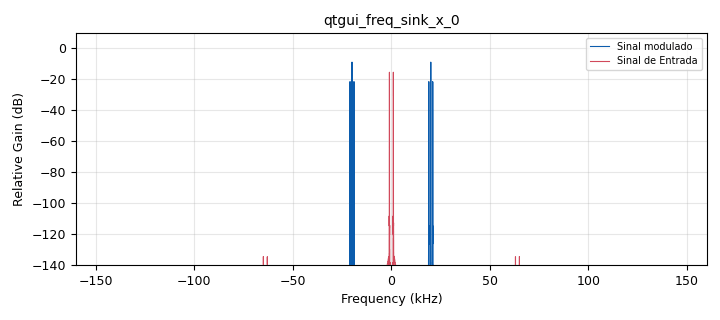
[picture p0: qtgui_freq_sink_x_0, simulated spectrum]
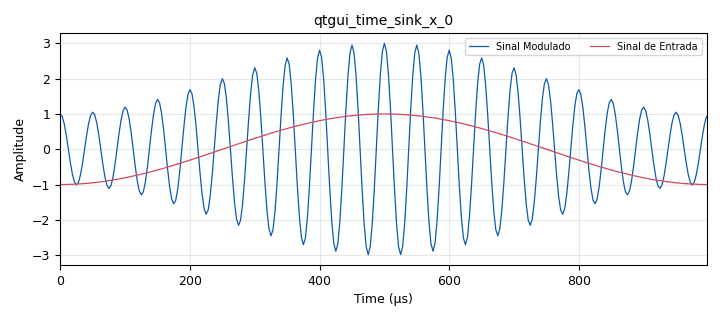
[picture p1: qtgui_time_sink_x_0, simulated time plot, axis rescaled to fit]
options:
  parameters:
    author: luso
    generate_options: qt_gui
    id: ex2
    output_language: python
    title: Not titled yet
  states: {}

blocks:
- name: down
  id: variable_qtgui_entry
  parameters:
    type: int
    value: round(samp_rate)
  states: {state: disabled}
- name: f_c
  id: variable
  parameters:
    value: 20*freq
  states: {}
- name: freq
  id: variable_qtgui_entry
  parameters:
    type: int
    value: '1000'
  states: {}
- name: samp_rate
  id: variable
  parameters:
    value: '320000'
  states: {}
- name: time
  id: variable_qtgui_entry
  parameters:
    type: int
    value: '1'
  states: {state: disabled}
- name: up
  id: variable_qtgui_entry
  parameters:
    type: int
    value: round(samp_rate)
  states: {state: disabled}
- name: analog_sig_source_x_0
  id: analog_sig_source_x
  parameters:
    amp: '1'
    freq: freq
    offset: '0'
    phase: '0'
    samp_rate: samp_rate
    type: float
    waveform: analog.GR_COS_WAVE
  states: {}
- name: analog_sig_source_x_0_0
  id: analog_sig_source_x
  parameters:
    amp: '1'
    freq: f_c
    offset: '0'
    phase: '0'
    samp_rate: samp_rate
    type: float
    waveform: analog.GR_COS_WAVE
  states: {}
- name: analog_sig_source_x_1
  id: analog_sig_source_x
  parameters:
    amp: '2'
    freq: '0'
    offset: '0'
    phase: '0'
    samp_rate: samp_rate
    type: float
    waveform: analog.GR_CONST_WAVE
  states: {}
- name: blocks_add_xx_0
  id: blocks_add_xx
  parameters:
    type: float
  states: {}
- name: blocks_head_0
  id: blocks_head
  parameters:
    num_items: round(1*1e5)
    type: float
  states: {}
- name: blocks_multiply_xx_0
  id: blocks_multiply_xx
  parameters:
    type: float
  states: {}
- name: blocks_throttle2_0
  id: blocks_throttle2
  parameters:
    samples_per_second: samp_rate
    type: float
  states: {}
- name: blocks_vector_source_x_0
  id: blocks_vector_source_x
  parameters:
    repeat: 'True'
    type: float
    vector: down*[0]+up*[1]+down*[0]
  states: {state: disabled}
- name: epy_module_0
  id: epy_module
  parameters:
    source_code: '# this module will be imported in the into your flowgraph'
  states: {}
- name: epy_module_1
  id: epy_module
  parameters:
    source_code: '# this module will be imported in the into your flowgraph'
  states: {}
- name: qtgui_freq_sink_x_0
  id: qtgui_freq_sink_x
  parameters:
    bw: samp_rate
    fc: '0'
    fftsize: '32768'
    label1: Sinal modulado
    label2: Sinal de Entrada
    nconnections: '2'
    type: float
  states: {}
- name: qtgui_time_sink_x_0
  id: qtgui_time_sink_x
  parameters:
    label1: Sinal Modulado
    label2: Sinal de Entrada
    nconnections: '2'
    size: round(samp_rate/freq)
    srate: samp_rate
    type: float
  states: {}

connections:
- [analog_sig_source_x_0, '0', blocks_add_xx_0, '1']
- [analog_sig_source_x_0, '0', qtgui_freq_sink_x_0, '1']
- [analog_sig_source_x_0, '0', qtgui_time_sink_x_0, '1']
- [analog_sig_source_x_0_0, '0', blocks_multiply_xx_0, '1']
- [analog_sig_source_x_1, '0', blocks_add_xx_0, '0']
- [blocks_add_xx_0, '0', blocks_multiply_xx_0, '0']
- [blocks_head_0, '0', qtgui_freq_sink_x_0, '0']
- [blocks_head_0, '0', qtgui_time_sink_x_0, '0']
- [blocks_multiply_xx_0, '0', blocks_throttle2_0, '0']
- [blocks_throttle2_0, '0', blocks_head_0, '0']
- [blocks_vector_source_x_0, '0', blocks_multiply_xx_0, '1']

metadata:
  file_format: 1
  grc_version: 3.10.10.0
